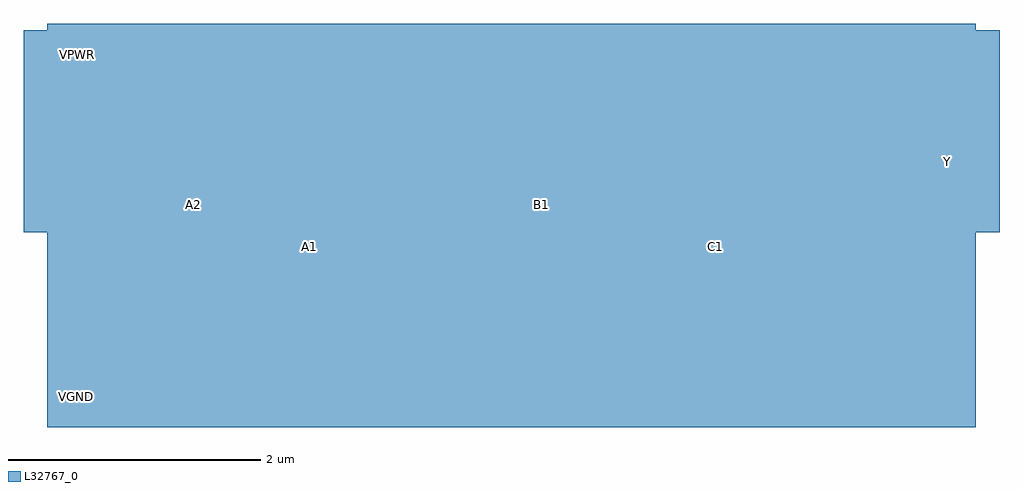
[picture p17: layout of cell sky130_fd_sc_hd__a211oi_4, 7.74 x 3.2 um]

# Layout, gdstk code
import gdstk
lib = gdstk.Library(unit=1e-6, precision=1e-09)
def R(c, l, rs):  # rectangles x0, y0, x1, y1
    for r in rs: c.add(gdstk.rectangle(r[:2], r[2:], *l))
def A(c, l, x, y, w, h, nx, ny, dx, dy):  # array of equal rectangles
    R(c, l, [(x+i*dx, y+j*dy, x+i*dx+w, y+j*dy+h) for i in range(nx) for j in range(ny)])
def P(c, l, *ps):  # polygons
    for p in ps: c.add(gdstk.Polygon(p, *l))
L32767_0 = (32767, 0)

sky130_fd_sc_hd__a211oi_ = lib.new_cell('sky130_fd_sc_hd__a211oi_4')
A(sky130_fd_sc_hd__a211oi_, L32767_0, 0.605, -0.085, 0.17, 0.17, 15, 2, 0.46, 2.72)
A(sky130_fd_sc_hd__a211oi_, L32767_0, 1.435, 0.275, 0.17, 0.17, 3, 2, 0.84, 2)
A(sky130_fd_sc_hd__a211oi_, L32767_0, 0.455, 1.075, 0.17, 0.17, 3, 1, 0.34, 0)
A(sky130_fd_sc_hd__a211oi_, L32767_0, 1.735, 1.075, 0.17, 0.17, 4, 1, 0.34, 0)
A(sky130_fd_sc_hd__a211oi_, L32767_0, 3.825, 1.075, 0.17, 0.17, 3, 1, 0.34, 0)
A(sky130_fd_sc_hd__a211oi_, L32767_0, 5.08, 1.075, 0.17, 0.17, 4, 1, 0.34, 0)
A(sky130_fd_sc_hd__a211oi_, L32767_0, 0.175, 1.875, 0.17, 0.17, 5, 2, 0.84, 0.34)
R(sky130_fd_sc_hd__a211oi_, L32767_0, [(0,-0.19,7.36,1.015), (0.145,-0.085,0.315,0.085), (0.15,-0.085,0.32,0.085), (0.15,-0.085,0.32,0.085), (0,0,7.36,2.72), (0,0,7.36,2.72), (0.135,0.235,7.225,0.885), (1.015,0.275,1.185,0.445), (3.535,0.275,3.705,0.445), (4.445,0.275,4.615,0.445), (5.295,0.275,5.465,0.445), (6.135,0.275,6.305,0.445), (6.995,0.275,7.165,0.445), (0.175,0.295,0.345,0.465), (3.975,0.335,4.145,0.505), (4.875,0.335,5.045,0.505), (5.715,0.335,5.885,0.505), (0.595,0.615,0.765,0.785), (6.565,0.655,6.735,0.825), (1.855,0.675,2.025,0.845), (2.695,0.675,2.865,0.845), (3.975,0.675,4.145,0.845), (4.875,0.675,5.045,0.845), (5.715,0.675,5.885,0.845), (0,0.975,7.36,1.345), (3.325,1.075,3.495,1.245), (6.765,1.075,6.935,1.245), (1.99,1.105,2.16,1.275), (5.21,1.105,5.38,1.275), (0,1.25,7.36,2.72), (-0.19,1.305,7.55,2.91), (0,1.355,7.36,2.91), (1.07,1.445,1.24,1.615), (3.83,1.445,4,1.615), (3.83,1.445,4,1.615), (6.59,1.445,6.76,1.615), (0.135,1.485,7.225,2.485), (5.68,1.525,5.85,1.695), (7.05,1.785,7.22,1.955), (5.25,1.895,5.42,2.065), (6.13,1.895,6.3,2.065), (3.955,1.915,4.125,2.085), (0.595,2.255,0.765,2.425), (7.015,2.255,7.185,2.425), (4.375,2.275,4.545,2.445), (0.145,2.635,0.315,2.805), (0.15,2.635,0.32,2.805), (0.15,2.635,0.32,2.805)])
P(sky130_fd_sc_hd__a211oi_, L32767_0, [(7.36,0.085),(7.27,0.085),(7.27,0.445),(6.915,0.445),(6.915,0.085),(6.385,0.085),(6.385,0.445),(6.055,0.445),(6.055,0.085),(5.545,0.085),(5.545,0.445),(5.215,0.445),(5.215,0.085),(4.695,0.085),(4.695,0.445),(4.365,0.445),(4.365,0.085),(3.705,0.085),(3.705,0.525),(3.535,0.525),(3.535,0.085),(1.185,0.085),(1.185,0.525),(0.95,0.525),(0.95,0.085),(0.395,0.085),(0.395,0.585),(0.095,0.585),(0.095,0.085),(0,0.085),(0,-0.085),(7.36,-0.085)],
  [(7.36,2.805),(0,2.805),(0,2.635),(0.515,2.635),(0.515,2.255),(0.845,2.255),(0.845,2.635),(1.355,2.635),(1.355,2.275),(1.685,2.275),(1.685,2.635),(2.195,2.635),(2.195,2.275),(2.525,2.275),(2.525,2.635),(3.035,2.635),(3.035,2.275),(3.365,2.275),(3.365,2.635),(7.36,2.635)],
  [(3.575,1.625),(0.1,1.625),(0.1,1.035),(1.385,1.035),(1.385,1.445),(3.245,1.445),(3.245,1.035),(3.575,1.035)],
  [(4.755,1.275),(4.46,1.275),(4.46,1.615),(3.745,1.615),(3.745,1.035),(4.755,1.035)],
  [(5.96,1.695),(4.91,1.695),(4.91,2.085),(3.875,2.085),(3.875,1.785),(4.63,1.785),(4.63,1.445),(5.96,1.445)],
  [(6.35,1.695),(6.13,1.695),(6.13,1.275),(5,1.275),(5,1.035),(6.35,1.035)],
  [(6.935,1.325),(6.76,1.325),(6.76,1.615),(6.59,1.615),(6.59,0.995),(6.935,0.995)],
  [(7.27,2.465),(3.535,2.465),(3.535,2.105),(2.865,2.105),(2.865,2.465),(2.695,2.465),(2.695,2.105),(2.025,2.105),(2.025,2.465),(1.855,2.465),(1.855,2.105),(1.185,2.105),(1.185,2.465),(1.015,2.465),(1.015,2.085),(0.345,2.085),(0.345,2.465),(0.095,2.465),(0.095,1.795),(3.705,1.795),(3.705,2.255),(7.27,2.255)],
  [(3.365,0.505),(1.605,0.505),(1.605,0.865),(0.565,0.865),(0.565,0.53),(0.775,0.53),(0.775,0.695),(1.355,0.695),(1.355,0.255),(3.365,0.255)],
  [(3.005,1.275),(1.66,1.275),(1.66,1.245),(1.655,1.245),(1.655,1.075),(1.66,1.075),(1.66,1.035),(3.005,1.035)],
  [(7.275,2.085),(5.17,2.085),(5.17,1.865),(6.93,1.865),(6.93,1.495),(7.105,1.495),(7.105,0.825),(6.355,0.825),(6.355,0.865),(1.775,0.865),(1.775,0.675),(3.33,0.675),(3.33,0.695),(3.875,0.695),(3.875,0.255),(4.195,0.255),(4.195,0.615),(4.875,0.615),(4.875,0.255),(5.045,0.255),(5.045,0.625),(5.715,0.625),(5.715,0.255),(5.885,0.255),(5.885,0.615),(7.275,0.615)],
  [(6.82,1.645),(6.53,1.645),(6.53,1.6),(4.06,1.6),(4.06,1.645),(3.77,1.645),(3.77,1.415),(4.06,1.415),(4.06,1.46),(6.53,1.46),(6.53,1.415),(6.82,1.415)],
  [(1.385,2.615),(1.235,2.615),(1.235,1.295),(0.965,1.295),(0.965,2.615),(0.815,2.615),(0.815,1.295),(0.545,1.295),(0.545,2.615),(0.395,2.615),(0.395,1.295),(0.375,1.295),(0.375,1.025),(0.395,1.025),(0.395,0.105),(0.545,0.105),(0.545,1.025),(0.815,1.025),(0.815,0.105),(0.965,0.105),(0.965,1.025),(1.235,1.025),(1.235,0.105),(1.385,0.105)],
  [(3.065,2.615),(2.915,2.615),(2.915,1.295),(2.645,1.295),(2.645,2.615),(2.495,2.615),(2.495,1.295),(2.225,1.295),(2.225,2.615),(2.075,2.615),(2.075,1.295),(1.805,1.295),(1.805,2.615),(1.655,2.615),(1.655,0.105),(1.805,0.105),(1.805,1.025),(2.075,1.025),(2.075,0.105),(2.225,0.105),(2.225,1.025),(2.495,1.025),(2.495,0.105),(2.645,0.105),(2.645,1.025),(2.915,1.025),(2.915,0.105),(3.065,0.105)],
  [(3.545,1.325),(3.485,1.325),(3.485,2.615),(3.335,2.615),(3.335,1.325),(3.275,1.325),(3.275,0.995),(3.335,0.995),(3.335,0.105),(3.485,0.105),(3.485,0.995),(3.545,0.995)],
  [(4.82,1.325),(4.745,1.325),(4.745,2.615),(4.595,2.615),(4.595,1.325),(4.325,1.325),(4.325,2.615),(4.175,2.615),(4.175,1.325),(3.905,1.325),(3.905,2.615),(3.755,2.615),(3.755,0.105),(3.905,0.105),(3.905,0.995),(4.24,0.995),(4.24,0.105),(4.39,0.105),(4.39,0.995),(4.67,0.995),(4.67,0.105),(4.82,0.105)],
  [(6.505,2.615),(6.355,2.615),(6.355,1.325),(6.055,1.325),(6.055,2.615),(5.905,2.615),(5.905,1.325),(5.625,1.325),(5.625,2.615),(5.475,2.615),(5.475,1.325),(5.195,1.325),(5.195,2.615),(5.045,2.615),(5.045,1.325),(5.03,1.325),(5.03,0.995),(5.095,0.995),(5.095,0.105),(5.245,0.105),(5.245,0.995),(5.515,0.995),(5.515,0.105),(5.665,0.105),(5.665,0.995),(5.935,0.995),(5.935,0.105),(6.085,0.105),(6.085,0.995),(6.355,0.995),(6.355,0.105),(6.505,0.105)],
  [(6.99,1.325),(6.965,1.325),(6.965,2.615),(6.815,2.615),(6.815,1.325),(6.715,1.325),(6.715,0.995),(6.785,0.995),(6.785,0.105),(6.935,0.105),(6.935,0.995),(6.99,0.995)])
sky130_fd_sc_hd__a211oi_.add(gdstk.FlexPath([(0,2.72),(7.36,2.72)], 0.48, ends="flush", simple_path=True, layer=32767, datatype=0))  # L32767_0
sky130_fd_sc_hd__a211oi_.add(gdstk.FlexPath([(0,0),(7.36,0)], 0.48, ends="flush", simple_path=True, layer=32767, datatype=0))  # L32767_0
sky130_fd_sc_hd__a211oi_.add(gdstk.Label('A2', (1.155,1.53), layer=32767, texttype=5))
sky130_fd_sc_hd__a211oi_.add(gdstk.Label('A1', (2.075,1.19), layer=32767, texttype=5))
sky130_fd_sc_hd__a211oi_.add(gdstk.Label('C1', (5.295,1.19), layer=32767, texttype=5))
sky130_fd_sc_hd__a211oi_.add(gdstk.Label('Y', (7.135,1.87), layer=32767, texttype=5))
sky130_fd_sc_hd__a211oi_.add(gdstk.Label('B1', (3.915,1.53), layer=32767, texttype=5))
sky130_fd_sc_hd__a211oi_.add(gdstk.Label('VPWR', (0.235,2.72), layer=32767, texttype=5))
sky130_fd_sc_hd__a211oi_.add(gdstk.Label('VGND', (0.23,0), layer=32767, texttype=5))
sky130_fd_sc_hd__a211oi_.add(gdstk.Label('VNB', (0.235,0), layer=32767, texttype=59))
sky130_fd_sc_hd__a211oi_.add(gdstk.Label('VPB', (0.235,2.72), layer=32767, texttype=5))
sky130_fd_sc_hd__a211oi_.add(gdstk.Label('a211oi_4', (0,0), layer=32767, texttype=44))

lib.write_gds('sky130_fd_sc_hd__a211oi_4.gds')
